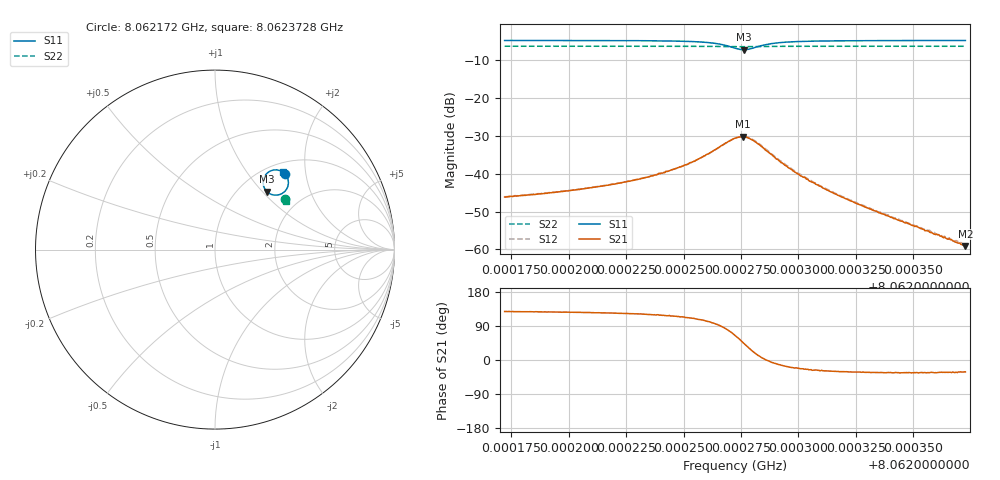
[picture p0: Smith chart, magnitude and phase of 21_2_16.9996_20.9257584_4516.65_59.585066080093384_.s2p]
#  HZ  S  RI  R  50.00
! Rohde & Schwarz Vector Network Analyzer
! Rohde-Schwarz,ZNB20-2Port,1311601062101988,3.16
! Created: UTC 3/20/2024, 10:52:59 PM
! freq[Hz]  re:S11  im:S11  re:S21  im:S21  re:S12  im:S12  re:S22  im:S22
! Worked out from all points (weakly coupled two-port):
!   401 points, 8.062172 GHz to 8.0623728 GHz, reference 50 ohm
!   highest |S21| = -30.25 dB at 8.0622759 GHz (marker M1); lowest = -59.1 dB at 8.0623728 GHz (marker M2)
!   lowest |S11| = -7.3 dB at 8.0622764 GHz (marker M3), VSWR 2.53, Z = 66.6 + j53 ohm
!   |S11| at or under -10 dB: nowhere
!   |S22| runs from -6.4 to -6.3 dB; largest |S21 - S12| = 0.0012
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8.06217204e9  0.3893 0.4235  -0.00303 0.00388  -0.00286 0.0041  0.3921 0.2812
8.06220567e9  0.395 0.4164  -0.00366 0.0051  -0.00337 0.00535  0.3931 0.2791
8.06222725e9  0.4005 0.4081  -0.0043 0.00684  -0.00392 0.00712  0.3939 0.2778
8.0622393e9  0.4046 0.3991  -0.00486 0.00892  -0.00427 0.00898  0.3944 0.2769
8.06224884e9  0.4079 0.3872  -0.00501 0.0112  -0.0043 0.0116  0.3947 0.2759
8.06225436e9  0.4092 0.3756  -0.00495 0.0136  -0.0042 0.0138  0.3947 0.2751
8.0622654e9  0.396 0.3329  -0.000775 0.0222  0.000296 0.0222  0.3938 0.273
8.06227243e9  0.3393 0.3033  0.0124 0.0267  0.0132 0.0262  0.3914 0.2723
8.06227594e9  0.2948 0.3185  0.0214 0.022  0.0221 0.0217  0.3897 0.2732
8.06227645e9  0.2894 0.3233  0.0224 0.0208  0.023 0.0206  0.3898 0.2734
8.06227845e9  0.2736 0.3462  0.025 0.0155  0.0259 0.015  0.3894 0.2747
8.06228096e9  0.2681 0.3773  0.0253 0.00868  0.0261 0.00814  0.3896 0.2758
8.06228749e9  0.2924 0.4272  0.0188 -0.00122  0.0191 -0.00209  0.3916 0.2775
8.06229502e9  0.3221 0.4425  0.012 -0.00372  0.012 -0.00445  0.3933 0.2773
8.06230104e9  0.3374 0.4444  0.00859 -0.00365  0.00876 -0.00434  0.3942 0.2768
8.06230606e9  0.346 0.4442  0.00687 -0.00353  0.00688 -0.00386  0.3946 0.2764
8.06231811e9  0.359 0.4414  0.00434 -0.00259  0.00429 -0.0029  0.3955 0.2757
8.06233969e9  0.3706 0.4369  0.00228 -0.0015  0.0022 -0.00169  0.3967 0.274
8.06235676e9  0.3756 0.4341  0.00146 -0.000964  0.00146 -0.00104  0.3973 0.2732
8.0623673e9  0.378 0.4328  0.00111 -0.000677  0.00105 -0.000788  0.3977 0.2727
8.06236981e9  0.3784 0.4324  0.00103 -0.000633  0.00101 -0.00076  0.3979 0.2726
8.06237282e9  0.3792 0.4319  0.000948 -0.000578  0.0009 -0.000641  0.3979 0.2723
